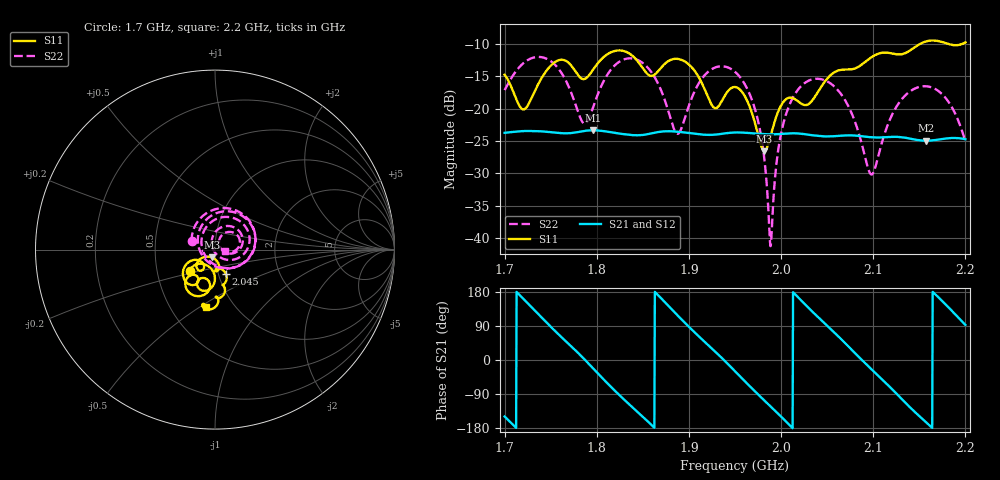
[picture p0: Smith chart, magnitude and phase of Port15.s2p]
# Hz S RI R 50
! CMT, CMT808U, 21440046, 21.4.3/4
! Date: 11/12/2025 3:22:41 PM
! Data: Format (Calibration Info)
! Freq	S11:Re/Im(F2)	S41:Re/Im(F2)	S14:Re/Im(F2)	S44:Re/Im(F2)
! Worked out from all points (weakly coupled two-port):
!   1001 points, 1.7 GHz to 2.2 GHz, reference 50 ohm
!   highest |S21| = -23.35 dB at 1.796 GHz (marker M1); lowest = -25.0 dB at 2.158 GHz (marker M2)
!   lowest |S11| = -26.6 dB at 1.982 GHz (marker M3), VSWR 1.10, Z = 48.2 - j4.24 ohm
!   |S11| at or under -10 dB: start of sweep to 2.151 GHz; 2.181 GHz to 2.197 GHz (15.4 MHz wide, 0.703 % of centre)
!   |S22| runs from -41.3 to -12.0 dB; largest |S21 - S12| = 6.9e-05
!   S11 on the Smith chart (normalised r, x): 1.7 GHz: 0.74, -0.18; 2.045 GHz: 1.09, -0.31; 2.2 GHz: 0.74, -0.53
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1.7e9  -0.1382 -0.1197  -0.0558 -0.0335  -0.0558 -0.0335  -0.1306 0.0474
1.7205e9  -0.0448 -0.0877  -0.0634 0.0219  -0.0634 0.0219  0.00119 0.2247
1.7445e9  -0.00653 -0.1921  -0.0129 0.0651  -0.0129 0.0651  0.2146 0.1173
1.7835e9  -0.065 -0.1578  0.0658 0.0112  0.0658 0.0112  -0.0317 -0.0744
1.796e9  -0.0274 -0.198  0.063 -0.0256  0.063 -0.0256  -0.0951 0.0374
1.8295e9  -0.1461 -0.2369  -0.0155 -0.0615  -0.0155 -0.0615  0.1393 0.1954
1.867e9  -0.0919 -0.1733  -0.065 0.0115  -0.065 0.0114  0.1203 -0.0954
1.888e9  -0.1623 -0.1795  -0.03 0.0591  -0.03 0.0591  -0.0561 -0.0306
1.9275e9  -0.0763 -0.0667  0.0573 0.0259  0.0573 0.0259  0.115 0.1714
1.95e9  -0.0951 -0.1118  0.0568 -0.0324  0.0568 -0.0323  0.1899 0.0306
1.97e9  -0.0718 -0.0455  0.0125 -0.0632  0.0125 -0.0631  0.0916 -0.0576
1.982e9  -0.0165 -0.0439  -0.0188 -0.0606  -0.0188 -0.0606  0.0182 -0.0356
1.989e9  0.00982 -0.0624  -0.035 -0.0527  -0.035 -0.0527  -0.00882 -0.00168
1.996e9  0.0226 -0.0888  -0.0485 -0.0409  -0.0485 -0.0409  -0.0185 0.039
2.0035e9  0.0185 -0.1134  -0.0592 -0.0242  -0.0592 -0.0243  -0.00899 0.0812
2.0335e9  0.0359 -0.1091  -0.0389 0.0487  -0.0389 0.0487  0.1243 0.1131
2.0445e9  0.0614 -0.1378  -0.0139 0.0595  -0.0139 0.0595  0.152 0.0718
2.0725e9  0.0411 -0.1961  0.0494 0.0376  0.0495 0.0376  0.1043 -0.0198
2.0975e9  0.0528 -0.2421  0.0553 -0.0236  0.0553 -0.0236  0.0289 0.0114
2.117e9  0.00949 -0.2694  0.022 -0.0562  0.022 -0.0562  0.0319 0.0723
2.1575e9  -0.0162 -0.3303  -0.0545 -0.015  -0.0545 -0.015  0.1351 0.0624
2.2e9  -0.0529 -0.3201  -0.00261 0.058  -0.00261 0.0579  0.0555 -0.00509
